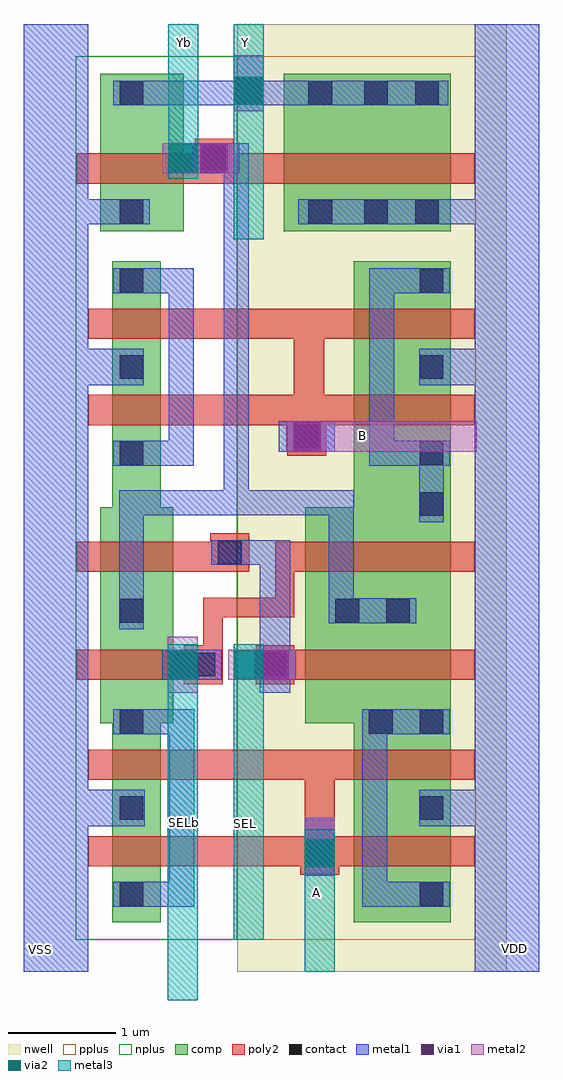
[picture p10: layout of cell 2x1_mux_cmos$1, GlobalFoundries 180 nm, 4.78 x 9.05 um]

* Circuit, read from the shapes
.subckt 2x1_mux_cmos$1 A B SEL SELb VDD VSS Y Yb
XM1 Yb SELb n1 VSUBS nfet_03v3 w=0.675u l=0.28u
XM2 n2 SEL Yb VSUBS nfet_03v3 w=0.675u l=0.28u
XM3 Y Yb VSS VSUBS nfet_03v3 w=0.775u l=0.28u
XM4 VSS A n1 VSUBS nfet_03v3 w=0.45u l=0.28u m=2
XM5 VSS B n2 VSUBS nfet_03v3 w=0.45u l=0.28u m=2
XM6 Y Yb VDD n3 pfet_03v3 w=1.55u l=0.28u
XM7 Yb SEL n4 n3 pfet_03v3 w=1.35u l=0.28u
XM8 n5 SELb Yb n3 pfet_03v3 w=1.35u l=0.28u
XM9 VDD A n4 n3 pfet_03v3 w=0.9u l=0.28u m=2
XM10 VDD B n5 n3 pfet_03v3 w=0.9u l=0.28u m=2
.ends

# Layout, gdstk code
import gdstk
lib = gdstk.Library(unit=1e-6, precision=5e-09)
def R(c, l, rs):  # rectangles x0, y0, x1, y1
    for r in rs: c.add(gdstk.rectangle(r[:2], r[2:], *l))
def A(c, l, x, y, w, h, nx, ny, dx, dy):  # array of equal rectangles
    R(c, l, [(x+i*dx, y+j*dy, x+i*dx+w, y+j*dy+h) for i in range(nx) for j in range(ny)])
nwell = (21, 0)
comp = (22, 0)
poly2 = (30, 0)
pplus = (31, 0)
nplus = (32, 0)
contact = (33, 0)
metal1 = (34, 0)
via1 = (35, 0)
metal2 = (36, 0)
via2 = (38, 0)
metal3 = (42, 0)

c_2x1_mux_cmos_1 = lib.new_cell('2x1_mux_cmos$1')
R(c_2x1_mux_cmos_1, nwell, [(2.785,-13.135,5.285,-4.345)])
R(c_2x1_mux_cmos_1, comp, [(1.625,-12.675,2.075,-6.545), (3.865,-12.675,4.765,-6.545), (1.515,-10.83,2.19,-8.825), (3.415,-10.83,4.765,-8.825), (1.515,-6.265,2.29,-4.805), (3.215,-6.265,4.765,-4.805)])
R(c_2x1_mux_cmos_1, poly2, [(3.37,-12.235,3.73,-11.875), (1.405,-12.155,4.985,-11.875), (3.41,-11.875,3.69,-11.355), (1.405,-11.355,4.985,-11.075), (2.29,-10.465,2.65,-10.105), (2.955,-10.465,3.315,-10.105), (1.295,-10.425,2.29,-10.145), (3.315,-10.425,4.985,-10.145), (2.47,-10.105,2.65,-9.845), (2.47,-9.845,3.315,-9.665), (3.135,-9.665,3.315,-9.425), (1.295,-9.425,2.535,-9.145), (2.535,-9.425,2.895,-9.065), (3.135,-9.425,4.985,-9.145), (3.25,-8.35,3.61,-7.99), (1.405,-8.065,4.985,-7.785), (3.31,-7.785,3.59,-7.265), (1.405,-7.265,4.985,-6.985), (1.295,-5.825,4.985,-5.545), (2.39,-5.77,2.75,-5.41)])
R(c_2x1_mux_cmos_1, pplus, [(2.785,-12.835,4.995,-4.645)])
R(c_2x1_mux_cmos_1, nplus, [(1.285,-12.835,2.785,-4.645)])
A(c_2x1_mux_cmos_1, contact, 1.695, -12.525, 0.22, 0.22, 1, 3, 0, 0.8)
A(c_2x1_mux_cmos_1, contact, 4.475, -12.525, 0.22, 0.22, 1, 3, 0, 0.8)
A(c_2x1_mux_cmos_1, contact, 1.695, -8.435, 0.22, 0.22, 1, 3, 0, 0.8)
A(c_2x1_mux_cmos_1, contact, 4.475, -8.435, 0.22, 0.22, 1, 3, 0, 0.8)
R(c_2x1_mux_cmos_1, contact, [(3.44,-12.165,3.66,-11.945), (4.005,-10.925,4.225,-10.705), (2.36,-10.395,2.58,-10.175), (3.025,-10.395,3.245,-10.175), (1.695,-9.895,1.915,-9.675), (3.695,-9.895,3.915,-9.675), (4.165,-9.895,4.385,-9.675), (2.605,-9.355,2.825,-9.135), (4.475,-8.905,4.695,-8.685), (3.32,-8.28,3.54,-8.06), (1.695,-6.195,1.915,-5.975), (3.445,-6.195,3.665,-5.975), (3.96,-6.195,4.18,-5.975), (4.435,-6.195,4.655,-5.975), (2.46,-5.7,2.68,-5.48), (1.695,-5.095,1.915,-4.875), (3.445,-5.095,3.665,-4.875), (3.96,-5.095,4.18,-4.875), (4.435,-5.095,4.655,-4.875)])
R(c_2x1_mux_cmos_1, metal1, [(0.805,-13.135,1.405,-4.345), (4.985,-13.135,5.585,-4.345), (1.635,-12.53,2.155,-12.3), (2.155,-12.53,2.385,-10.7), (3.945,-12.53,4.175,-10.7), (4.175,-12.53,4.755,-12.3), (3.41,-12.245,3.69,-11.725), (1.405,-11.785,1.925,-11.445), (4.47,-11.785,4.985,-11.445), (1.635,-10.93,2.155,-10.7), (4.175,-10.93,4.755,-10.7), (2.995,-10.545,3.275,-9.13), (2.09,-10.425,2.64,-10.145), (2.945,-10.425,3.325,-10.145), (1.69,-9.955,1.92,-8.67), (3.635,-9.9,4.445,-9.67), (3.635,-9.67,3.865,-8.67), (2.545,-9.36,2.995,-9.13), (4.47,-8.965,4.7,-8.44), (1.92,-8.9,3.865,-8.67), (2.66,-8.67,2.89,-5.73), (1.635,-8.44,2.15,-8.21), (2.15,-8.44,2.38,-6.61), (4.01,-8.44,4.24,-6.61), (4.24,-8.44,4.755,-8.21), (3.17,-8.31,3.69,-8.03), (1.405,-7.695,1.92,-7.355), (4.47,-7.695,4.985,-7.355), (1.635,-6.84,2.15,-6.61), (4.24,-6.84,4.755,-6.61), (1.405,-6.2,1.975,-5.97), (3.35,-6.2,4.985,-5.97), (2.37,-5.73,2.89,-5.45), (2.43,-5.705,2.66,-5.475), (2.75,-5.155,3.03,-4.635), (1.635,-5.1,4.74,-4.87)])
R(c_2x1_mux_cmos_1, via1, [(3.42,-12.165,3.68,-11.905), (2.15,-10.415,2.41,-10.155), (3.005,-10.415,3.265,-10.155), (3.3,-8.3,3.56,-8.04), (2.44,-5.72,2.7,-5.46), (2.76,-5.095,3.02,-4.835)])
R(c_2x1_mux_cmos_1, metal2, [(3.41,-12.225,3.69,-11.705), (2.14,-10.545,2.42,-10.025), (2.7,-10.425,3.325,-10.145), (3.24,-8.31,5.005,-8.03), (2.095,-5.73,2.805,-5.45), (2.75,-5.155,3.03,-4.635)])
R(c_2x1_mux_cmos_1, via2, [(3.42,-12.165,3.68,-11.905), (2.15,-10.415,2.41,-10.155), (2.76,-10.415,3.02,-10.155), (2.155,-5.72,2.415,-5.46), (2.76,-5.095,3.02,-4.835)])
R(c_2x1_mux_cmos_1, metal3, [(2.14,-13.395,2.42,-10.095), (3.41,-13.135,3.69,-11.81), (2.75,-12.835,3.03,-10.095), (2.75,-6.34,3.03,-4.345), (2.145,-5.78,2.425,-4.345)])
c_2x1_mux_cmos_1.add(gdstk.Label('Yb', (2.295,-4.515), layer=42, texttype=10))
c_2x1_mux_cmos_1.add(gdstk.Label('Y', (2.86,-4.515), layer=42, texttype=10))
c_2x1_mux_cmos_1.add(gdstk.Label('A', (3.515,-12.4), layer=42, texttype=10))
c_2x1_mux_cmos_1.add(gdstk.Label('SEL', (2.86,-11.76), layer=42, texttype=10))
c_2x1_mux_cmos_1.add(gdstk.Label('SELb', (2.295,-11.745), layer=42, texttype=10))
c_2x1_mux_cmos_1.add(gdstk.Label('VDD', (5.36,-12.92), layer=34, texttype=10))
c_2x1_mux_cmos_1.add(gdstk.Label('VSS', (0.96,-12.93), layer=34, texttype=10))
c_2x1_mux_cmos_1.add(gdstk.Label('B', (3.95,-8.16), layer=36, texttype=10))

lib.write_gds('2x1_mux_cmos_1.gds')
